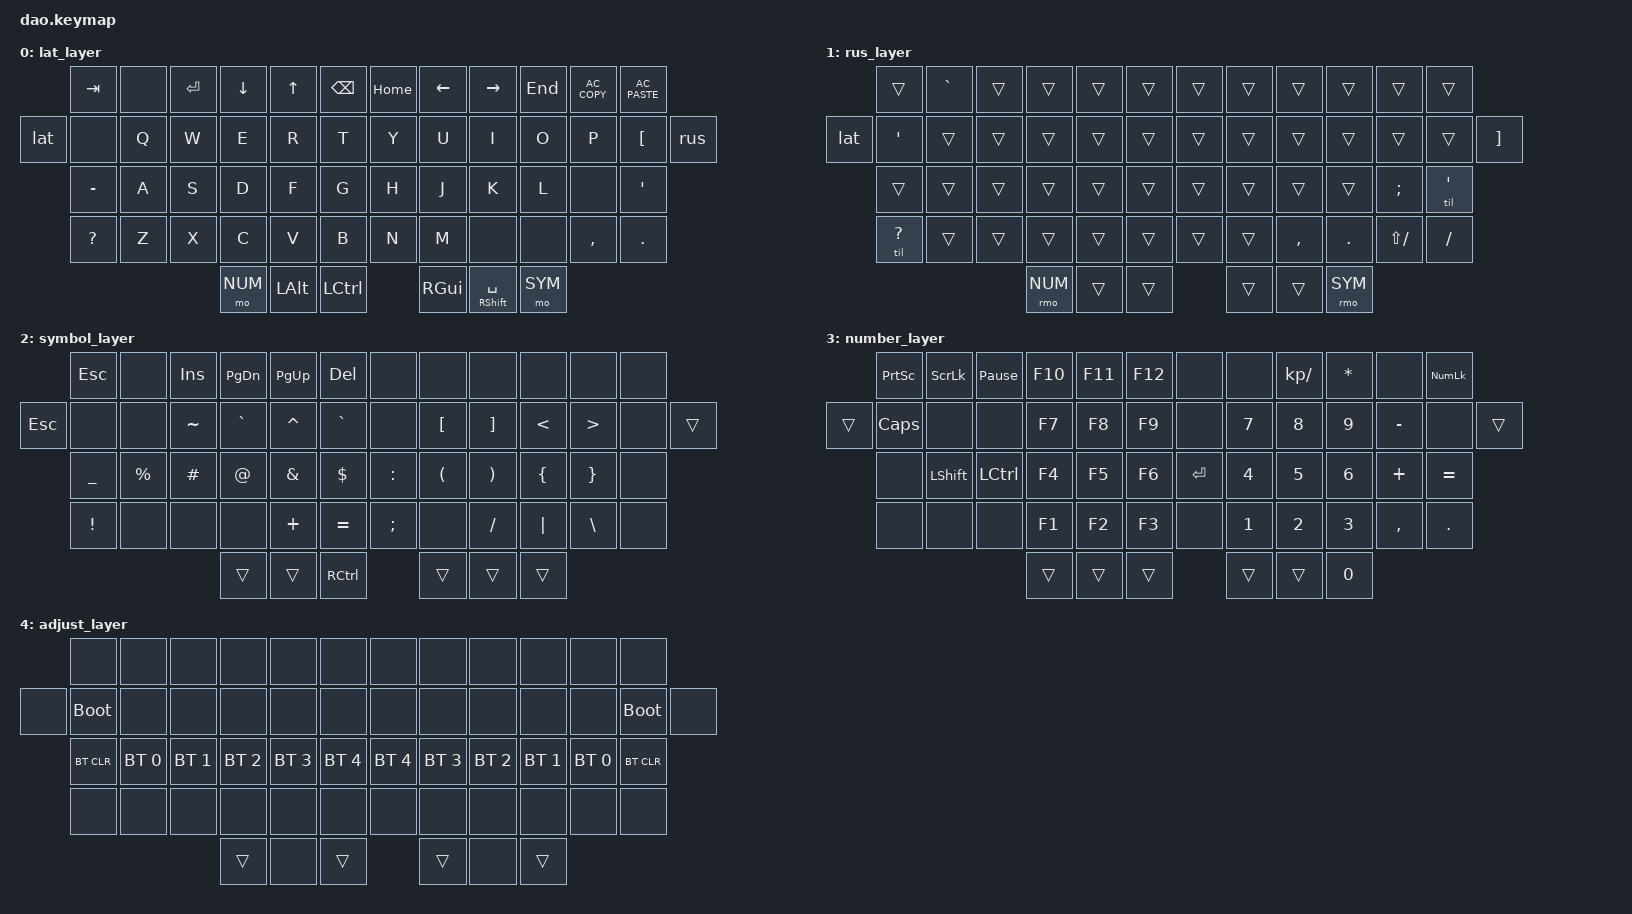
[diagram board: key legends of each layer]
/*
 * Copyright (c) 2021 Rafael Yumagulov
 *
 * SPDX-License-Identifier: MIT
 */

#include <behaviors.dtsi>
#include <dt-bindings/zmk/keys.h>
#include <dt-bindings/zmk/bt.h>

#define LAT 0
#define RUS 1
#define SYM 2
#define NUM 3
#define ADJ 4

#define LATON  &kp CAPS
#define RUSON  &kp LS(CAPS)

&lt { quick_tap_ms = <200>; };
&mt { quick_tap_ms = <200>; };

/ {
        macros {
                lat: lat {
                        label = "lat";
                        compatible = "zmk,behavior-macro";
                        #binding-cells = <0>;
                        bindings
                                = <&macro_press LATON>
                                , <&to LAT>
                                , <&macro_release LATON>
                                ;
                };
                rus: rus {
                        label = "rus";
                        compatible = "zmk,behavior-macro";
                        #binding-cells = <0>;
                        bindings
                                = <&macro_press RUSON>
                                , <&to RUS>
                                , <&macro_release RUSON>
                                ;
                };
                // tap in lat
                til: til {
                        label = "til";
                        compatible = "zmk,behavior-macro-one-param";
                        #binding-cells = <1>;
                        bindings
                                = <&macro_tap LATON>
                                , <&macro_param_1to1>
                                , <&macro_press &kp MACRO_PLACEHOLDER>
                                , <&macro_pause_for_release>
                                , <&macro_param_1to1>
                                , <&macro_release &kp MACRO_PLACEHOLDER>
                                , <&macro_tap RUSON>
                                ;
                };
                // &mo in rus
                rmo: rmo {
                        label = "rmo";
                        compatible = "zmk,behavior-macro-one-param";
                        #binding-cells = <1>;
                        bindings
                                = <&macro_tap LATON>
                                , <&macro_param_1to1>
                                , <&macro_press &mo MACRO_PLACEHOLDER>
                                , <&macro_pause_for_release>
                                , <&macro_param_1to1>
                                , <&macro_release &mo MACRO_PLACEHOLDER>
                                , <&macro_tap RUSON>
                                ;
                };
        };
        combos {
                compatible = "zmk,combos";
                rus_yo {
                        timeout-ms = <50>;
                        layers = <RUS>;
                        key-positions = <17 18>;
                        bindings = <&kp GRAVE>;
                };
                rus_hard_sign {
                        timeout-ms = <50>;
                        layers = <RUS>;
                        key-positions = <45 46>;
                        bindings = <&kp RBKT>;
                };
                lat {
                        timeout-ms = <50>;
                        layers = <RUS>;
                        key-positions = <29 30>;
                        bindings = <&lat>;
                };
                rus {
                        timeout-ms = <50>;
                        layers = <LAT>;
                        key-positions = <33 34>;
                        bindings = <&rus>;
                };
        };
        keymap {
                compatible = "zmk,keymap";

                lat_layer {
                        bindings = <
            &kp TAB       &none  &kp ENTER &kp DOWN &kp UP &kp BSPC /**/ &kp HOME &kp LEFT &kp RIGHT &kp END &kp C_AC_COPY &kp C_AC_PASTE
   &lat     &none         &kp Q  &kp W     &kp E  &kp R    &kp T    /**/ &kp Y    &kp U    &kp I     &kp O   &kp P         &kp LBKT       &rus
            &kp MINUS     &kp A  &kp S     &kp D  &kp F    &kp G    /**/ &kp H    &kp J    &kp K     &kp L   &none         &kp APOS
            &kp QUESTION  &kp Z  &kp X     &kp C  &kp V    &kp B    /**/ &kp N    &kp M    &none     &none   &kp COMMA     &kp DOT

                                         &mo NUM &kp LALT &kp LCTRL /**/ &kp RGUI &mt RSHFT SPACE &mo SYM
                        >;
                };
                rus_layer {
                        bindings = <
            &trans        &kp GRAVE  &trans   &trans  &trans &trans    /**/ &trans   &trans   &trans     &trans   &trans        &trans
   &lat     &kp APOS      &trans     &trans   &trans  &trans &trans    /**/ &trans   &trans   &trans     &trans   &trans        &trans       &kp RBKT
            &trans        &trans     &trans   &trans  &trans &trans    /**/ &trans   &trans   &trans     &trans   &kp SEMI      &til APOS
            &til QUESTION &trans     &trans   &trans  &trans &trans    /**/ &trans   &trans   &kp COMMA  &kp DOT  &kp LS(SLASH) &kp SLASH

                                           &rmo NUM  &trans &trans    /**/ &trans &trans &rmo SYM
                        >;
                };
                symbol_layer {
                        bindings = <
           &kp ESC   &none     &kp INS   &kp PG_DN &kp PG_UP &kp DEL   /**/ &none     &none    &none     &none    &none    &none
   &kp ESC &none     &none     &kp TILDE &kp GRAVE &kp CARET &kp GRAVE /**/ &none     &kp LBKT &kp RBKT  &kp LT   &kp GT   &none &trans
           &kp UNDER &kp PRCNT &kp HASH  &kp AT    &kp AMPS  &kp DLLR  /**/ &kp COLON &kp LPAR &kp RPAR  &kp LBRC &kp RBRC &none
           &kp EXCL  &none     &none     &none     &kp PLUS  &kp EQUAL /**/ &kp SEMI  &none    &kp SLASH &kp PIPE &kp BSLH &none

                                        &trans    &trans    &kp RCTRL /**/ &trans &trans &trans
                        >;
                };

                number_layer {
                        bindings = < 
          &kp PSCRN &kp SLCK  &kp PAUSE_BREAK &kp F10 &kp F11 &kp F12 /**/ &none     &none  &kp KP_DIVIDE &kp STAR &none     &kp KP_NLCK
   &trans &kp CAPS  &none     &none           &kp F7  &kp F8  &kp F9  /**/ &none     &kp N7 &kp N8        &kp N9   &kp MINUS &none        &trans
          &none     &kp LSHFT &kp LCTRL       &kp F4  &kp F5  &kp F6  /**/ &kp ENTER &kp N4 &kp N5        &kp N6   &kp PLUS  &kp EQUAL
          &none     &none     &none           &kp F1  &kp F2  &kp F3  /**/ &none     &kp N1 &kp N2        &kp N3   &kp COMMA &kp DOT

                                                 &trans &trans &trans /**/ &trans &trans &kp N0
                        >;
                };
                adjust_layer {
                        bindings = <
          &none &none &none &none &none &none &none &none &none &none &none &none
   &none &bootloader  &none        &none        &none        &none        &none              &none        &none        &none        &none        &none         &bootloader &none
          &bt BT_CLR   &bt BT_SEL 0 &bt BT_SEL 1 &bt BT_SEL 2 &bt BT_SEL 3 &bt BT_SEL 4       &bt BT_SEL 4 &bt BT_SEL 3 &bt BT_SEL 2 &bt BT_SEL 1 &bt BT_SEL 0  &bt BT_CLR
          &none        &none        &none        &none        &none        &none              &none        &none        &none        &none        &none         &none
                                                                    &trans &none &trans   &trans &none &trans
                        >;
                };
        };
};
